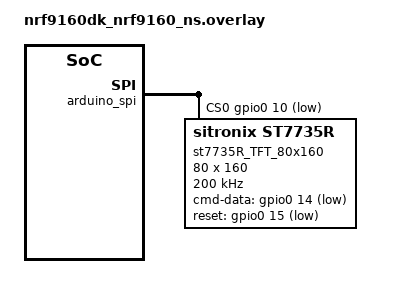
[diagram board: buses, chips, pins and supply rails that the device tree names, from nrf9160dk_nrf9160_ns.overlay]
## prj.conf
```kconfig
# MCUMGR dependencies
CONFIG_NET_BUF=y
CONFIG_ZCBOR=y

# MCU Manager
CONFIG_MCUMGR=y

# Dependencies for IMG and OS groups
CONFIG_STREAM_FLASH=y
CONFIG_FLASH=y
CONFIG_FLASH_MAP=y
CONFIG_IMG_MANAGER=y
CONFIG_BASE64=y

# dfu module dependencies
CONFIG_STREAM_FLASH_ERASE=y

# dfu module
CONFIG_DFU_TARGET=y
CONFIG_DFU_TARGET_MCUBOOT=y

# Test
CONFIG_IMG_MANAGER=y
CONFIG_BOOTLOADER_MCUBOOT=y
CONFIG_MCUBOOT_IMG_MANAGER=y
#CONFIG_IMG_BLOCK_BUF_SIZE=512

# Enable most core commands.
CONFIG_MCUMGR_GRP_IMG=y
CONFIG_MCUMGR_GRP_OS=y

# Enable the serial mcumgr transport.
CONFIG_MCUMGR_TRANSPORT_UART=y

# Some command handlers require a large stack.
CONFIG_SYSTEM_WORKQUEUE_STACK_SIZE=8192
CONFIG_LV_Z_MEM_POOL_NUMBER_BLOCKS=8
CONFIG_MAIN_STACK_SIZE=16384

# For diplay drivers
CONFIG_DISPLAY=y
CONFIG_SPI=y
CONFIG_ST7735R=y

# For LVGL library
#CONFIG_LVGL=y
#CONFIG_LV_MEM_CUSTOM=y
#CONFIG_LV_USE_LOG=y
#CONFIG_LV_LOG_PRINTF=y
#CONFIG_LV_LOG_LEVEL_ERROR=y
#CONFIG_LV_USE_LABEL=y
#CONFIG_LV_USE_BTN=y
#CONFIG_LV_USE_IMG=y
#CONFIG_LV_FONT_MONTSERRAT_14=y

#CONFIG_LV_Z_BITS_PER_PIXEL=16
#CONFIG_LV_COLOR_16_SWAP=y
```

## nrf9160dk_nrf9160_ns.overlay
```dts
/*
 * Overlay file for TD Viking Watch hardware 
 *  - BMI323 Inertial Measurement Unit sensor - Accelerometer and gyroscope
 *  - MAX17048 BAttery fuel gauge sensor
 *  - TFT screen with ST7735S chip
 *  - FT230x USB to UART chip
 */

 / {
	chosen {
		zephyr,display = &st7735R_TFT_80x160;
	};
 };
 


 &pinctrl {
	uart0_default: uart0_default {
		group1 {
			psels = <NRF_PSEL(UART_TX, 0, 6)>,
				<NRF_PSEL(UART_RTS, 0, 27)>;
		};
		group2 {
			psels = <NRF_PSEL(UART_RX, 0, 5)>,
				<NRF_PSEL(UART_CTS, 0, 26)>;
			bias-pull-up;
		};
	};

	uart0_sleep: uart0_sleep {
		group1 {
			psels = <NRF_PSEL(UART_TX, 0, 6)>,
				<NRF_PSEL(UART_RX, 0, 5)>,
				<NRF_PSEL(UART_RTS, 0, 27)>,
				<NRF_PSEL(UART_CTS, 0, 26)>;
			low-power-enable;
		};
	};

	uart1_default: uart1_default {
		group1 {
			psels = <NRF_PSEL(UART_TX, 0, 6)>,
				<NRF_PSEL(UART_RTS, 0, 14)>;
		};
		group2 {
			psels = <NRF_PSEL(UART_RX, 0, 5)>,
				<NRF_PSEL(UART_CTS, 0, 15)>;
			bias-pull-up;
		};
	};

	uart1_sleep: uart1_sleep {
		group1 {
			psels = <NRF_PSEL(UART_TX, 0, 6)>,
				<NRF_PSEL(UART_RX, 0, 5)>,
				<NRF_PSEL(UART_RTS, 0, 14)>,
				<NRF_PSEL(UART_CTS, 0, 15)>;
			low-power-enable;
		};
	};

	uart2_default: uart2_default {
		group1 {
			psels = <NRF_PSEL(UART_TX, 0, 6)>,
				<NRF_PSEL(UART_RX, 0, 5)>;
		};
	};

	uart2_sleep: uart2_sleep {
		group1 {
			psels = <NRF_PSEL(UART_TX, 0, 6)>,
				<NRF_PSEL(UART_RX, 0, 5)>;
			low-power-enable;
		};
	};

 };

 &arduino_spi {
	compatible = "nordic,nrf-spim";
	status = "okay";
	cs-gpios = <&gpio0 10 GPIO_ACTIVE_LOW>;
	pinctrl-0 = <&spi3_default>;
	pinctrl-1 = <&spi3_sleep>;
	pinctrl-names = "default", "sleep";

	st7735R_TFT_80x160: spi_device_1@0 {
		compatible = "sitronix,st7735r";
		spi-max-frequency = <200000>;
		reg = <0>;
		cmd-data-gpios = <&gpio0 14 GPIO_ACTIVE_LOW>;	
		reset-gpios = <&gpio0 15  GPIO_ACTIVE_LOW>;
		width = <80>;
		height = <160>;
		x-offset = <26>; 
		y-offset = <1>; 
		madctl = <0xC8>;
		colmod = <0x05>;
		caset = [00 00 00 4F];
		raset = [00 00 00 9F];
		vmctr1 = <0x0e>;
		invctr = <0x00>;
		pwctr1 = [a2 02 84];
		pwctr2 = [c5];
		pwctr3 = [0a 00];
		pwctr4 = [8a 2a];
		pwctr5 = [8a ee];
		frmctr1 = [01 2c 2d];
		frmctr2 = [01 2c 2d];
		frmctr3 = [01 2c 2d 01 2c 2d];
		gamctrp1 = [02 1c 07 12 37 32 29 2d 29 25 2b 39 00 01 03 10];
		gamctrn1 = [03 1d 07 06 2e 2c 29 2d 2e 2e 37 3f 00 00 02 10];
        inversion-on;
	};
	
};
```

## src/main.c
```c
/*
 * Copyright (c) 2018 Jan Van Winkel <jan.van_winkel@dxplore.eu>
 *
 * SPDX-License-Identifier: Apache-2.0
 */

#include <stdio.h>
#include <string.h>
#include <zephyr/sys/printk.h>
#include <zephyr/device.h>
#include <zephyr/kernel.h> 
#include <zephyr/drivers/display.h>
#include <zephyr/drivers/gpio.h>
#include <zephyr/drivers/uart.h>
#include <zephyr/drivers/spi.h>
#include "max6921.c"

#define SLEEP_TIME_MS   200
#define ENABLE_TFT 		4
#define STATUS_CHARGE 	8
#define STATUS_PGOOD_BATTERY 	7


// ---- Prototype Functions ----------------------------------------------------

// -----------------------------------------------------------------------------

//------------------- MAIN LOOP ----------------------------------------------------------------------

void main(void)
{		
	// VFD display initialization
	const struct device *VFD_dev;
	VFD_dev = VFD_init();
	
	const struct device *gpio_dev;
	gpio_dev = DEVICE_DT_GET(DT_NODELABEL(gpio0));	
	
	gpio_pin_configure(gpio_dev, STATUS_CHARGE, GPIO_INPUT); 
	gpio_pin_configure(gpio_dev, STATUS_PGOOD_BATTERY , GPIO_INPUT); 
	gpio_pin_set(gpio_dev, ENABLE_TFT, 0); // Logic LOW enables 3.3v supply for TFT display


// -------------- STYLES Start ----------------------------------
	while (1) {
	
		k_sleep(K_MSEC(1000));
		
		int a = 0;
		int b = 0;
		while(a < 10){
			VFD_disp(VFD_dev, a, b);
			while(b < 10){
				VFD_disp(VFD_dev, a, b);
				k_msleep(SLEEP_TIME_MS);
				b++;
			}
			b = 0;
			a++;		
		}

		int power_good = gpio_pin_get_raw(gpio_dev, STATUS_PGOOD_BATTERY); // 0 indicates valid external power source connected, 1 = no power source
		int bat_charging = gpio_pin_get_raw(gpio_dev, STATUS_CHARGE); // 0 indicates battery charging, 1 = no charging taking place
	
	}
}
```

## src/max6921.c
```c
// Autohor: Tor Kaufmann Gjerde

/*
Driver for the MAX6921 Vacuum Florecent Display Driver IC 
Used in the Viking hardware configuration.

9 first bits MSBs in the array represent the segments in one tube, 
next 9 bits represents the segments in the second VFD tube.
Mapping of VFD segments to data array --> 
[grid, dot, 6, 4, 3, 13, 10, 11, 14, grid, dot, 6, 4, 3, 13, 10, 11, 14, 0, 0]

The two last bits are not used in HW and should always be set to zero.
LSB of the data array is clocked in last over the SPI bus and ends up as the MSBs (OUT1 and OUT2)
in the shift register.

*/

#include <zephyr/device.h>
#include <zephyr/drivers/gpio.h>
#include "max6921.h"



// ---- Prototype functions ----------------------------------------
const struct device * VFD_init(void);
int VFD_disp(const struct device *dev, int vfd1, int vfd2);
int disp_VFD_20_bit(const struct device *dev, int data_array[20]);
// -----------------------------------------------------------------



// function to Initialize the MAX6921 
const struct device * VFD_init(void){

	const struct device *gpio_dev;
	gpio_dev = DEVICE_DT_GET(DT_NODELABEL(gpio0));
	
	gpio_pin_configure(gpio_dev, ENABLE_HV, GPIO_OUTPUT);  // ENABLE HV
    gpio_pin_configure(gpio_dev, CLOCK, GPIO_OUTPUT);  // CLOCK
	gpio_pin_configure(gpio_dev, LOAD, GPIO_OUTPUT);  // LOAD
	gpio_pin_configure(gpio_dev, DATA, GPIO_OUTPUT);  // DATA
	gpio_pin_configure(gpio_dev, BLANK, GPIO_OUTPUT);  // BLANK

	return gpio_dev;
}

/*
VFD_off(void){
	Disable High Voltage and Low voltage supplies. Hardware should be updated with a switch to turn off rail to MAX6921 Driver
	Set data array to zero and send to driver 
}

int VFD_disp_seg(){

}
*/


int VFD_disp(const struct device *VFD_dev, int vfd1, int vfd2){
// [grid, dot, 6, 4, 3, 13, 10, 11, 14, grid, dot, 6, 4, 3, 13, 10, 11, 14, 0, 0]
    //following 9-bit data arrays produce integers 1-9:

	int bit_map[10][10] = {
		{1, 0, 1, 1, 1, 0, 1, 1, 1},   // number 0, row 1
   		{1, 0, 1, 0, 0, 0, 1, 0, 0},   // number 1, row 2  
   		{1, 0, 0, 1, 1, 1, 1, 1, 0},   // number 2, row 3 etc.
   		{1, 0, 1, 1, 0, 1, 1, 1, 0},   // number 3
   		{1, 0, 1, 0, 0, 1, 1, 0, 1},   // number 4
   		{1, 0, 1, 1, 0, 1, 0, 1, 1},   // number 5
   		{1, 0, 1, 1, 1, 1, 0, 1, 1},   // number 6
   		{1, 0, 1, 0, 0, 0, 1, 1, 0},   // number 7
   		{1, 0, 1, 1, 1, 1, 1, 1, 1},   // number 8
   		{1, 0, 1, 0, 0, 1, 1, 1, 1}     // number 9
		};

	int bit_array[20] = {0,0,0,0,0,0,0,0,0,0,
						 0,0,0,0,0,0,0,0,0,0 
						};
	
	int i = 0;
	int cnt = 0;
	while(cnt<18){
		// 18 as the last to bits in the array is not used  and remains zero
		if(i > 8){
			i = 0;
		}
		if(cnt < 9){
			bit_array[cnt] = bit_map[vfd1][i];
		}
		if(cnt > 8){
			bit_array[cnt] = bit_map[vfd2][i];
		};
		i++; 
		cnt++;		
	}
	//send the 20-bit array to max6921 
	int ret = disp_VFD_20_bit(VFD_dev, bit_array);
	return ret;
} 	



// Bit-bang function for 20-bit data transfer
int disp_VFD_20_bit(const struct device *gpio_dev, int data_array[20]) {
	
	gpio_pin_set(gpio_dev, ENABLE_HV, 1); // Logic HIGH enable voltage supply
	gpio_pin_set(gpio_dev, BLANK, 0); // set blank low for enable driver output
	gpio_pin_set(gpio_dev, LOAD, 1); // LOAD register with falling edge on LOAD

	for(int i = 0; i < 20; i++){
		// bitbang bit array
		gpio_pin_set(gpio_dev, CLOCK, 0); // set clk low
		gpio_pin_set(gpio_dev, DATA, data_array[i]); // set data pin from data array
		gpio_pin_set(gpio_dev, CLOCK, 1); // set clk high
	}
	gpio_pin_set(gpio_dev, LOAD, 0); 

	return 0;
}
```

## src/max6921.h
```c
#define CLOCK 21
#define LOAD 22
#define BLANK 23
#define DATA 24
#define ENABLE_HV 25
```
